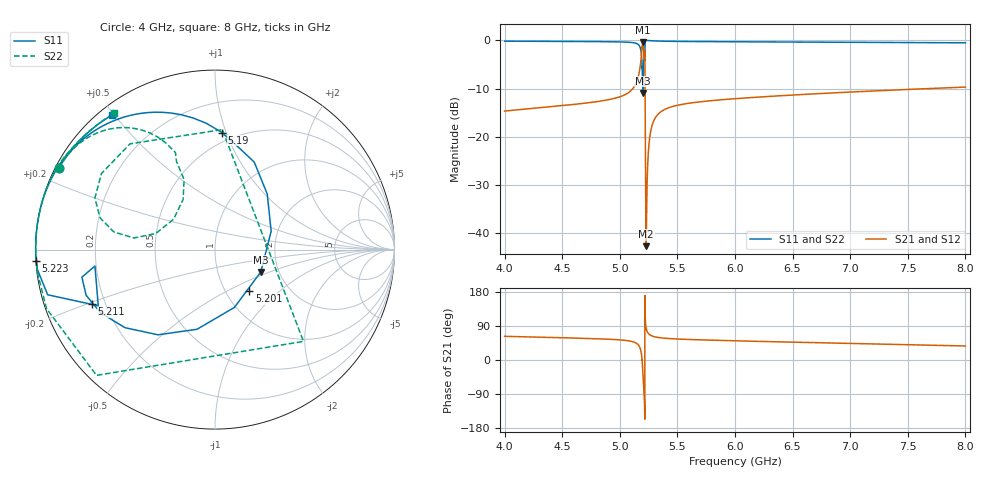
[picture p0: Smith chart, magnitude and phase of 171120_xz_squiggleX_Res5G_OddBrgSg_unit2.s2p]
! Sonnet Data File
! From: emgraph Version : 16.52
! From Emgraph Data: 171120_xz_squiggleX_Res5G_OddBrgSg_unit2
! Data File Written: 11/20/2017 13:13:11
!< HDATE 11/20/2017 11:17:42
!< MDATE 11/20/2017 11:18:06
!< PARAMS
!< Squiggle_length = 16.0
!< Inter_L = 35.0
!< Holo = 82.0
!< Inter = 19.0
!< Width = 359.0
!< END PARAMS
# GHZ S MA R 50.00000
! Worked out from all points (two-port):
!   4001 points, 4 GHz to 8 GHz, reference 50 ohm
!   highest |S21| = -0.38 dB at 5.2 GHz (marker M1); lowest = -42.7 dB at 5.228 GHz (marker M2)
!   |S21| within 3 dB of the highest: 5.186516 GHz to 5.210274 GHz (23.76 MHz wide, 0.457 % of centre); 5.21488 GHz to 5.218033 GHz (3.153 MHz wide, 0.0604 % of centre)
!   lowest |S11| = -10.9 dB at 5.2 GHz (marker M3), VSWR 1.79, Z = 80.6 - j21.8 ohm
!   |S11| at or under -10 dB: 5.198374 GHz to 5.201426 GHz (3.051 MHz wide, 0.0587 % of centre)
!   |S22| runs from -10.9 to 0.0 dB; largest |S21 - S12| = 0
!   S11 on the Smith chart (normalised r, x): 4 GHz: 0.01, +0.24; 5.19 GHz: 0.42, +0.97; 5.201 GHz: 1.29, -0.65; 5.211 GHz: 0.15, -0.21; 5.223 GHz: 0.00, -0.03; 8 GHz: 0.04, +0.49
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4  0.9828 152.5  0.1847 62.5  0.1847 62.5  0.9828 152.5
!< P1 F=4.0 Eeff=(7.89482441 -3.6407e-5) Z0=(50.4658937 1.16281e-4) R=0.0 C=0.0
!< P2 F=4.0 Eeff=(7.89482441 -3.6407e-5) Z0=(50.4658937 1.16281e-4) R=0.0 C=0.0
4.667  0.9753 147.3  0.2208 57.4  0.2208 57.4  0.9753 147.4
5.106  0.9512 137.8  0.3086 48.9  0.3086 48.9  0.9512 140.0
5.15  0.9242 130.7  0.3817 43.0  0.3817 43.0  0.9242 135.3
5.172  0.8717 119.9  0.4896 34.4  0.4896 34.4  0.8718 129.0
5.183  0.7884 106.1  0.6146 24.0  0.6146 24.0  0.7885 122.0
5.19  0.6535 86.6  0.756 10.6  0.756 10.6  0.6539 114.7
5.197  0.3749 34.2  0.9256 -14.6  0.9256 -14.6  0.3764 116.8
5.2  0.2839 -26.0  0.9572 -31.1  0.9572 -31.1  0.2862 143.7
5.201  0.2998 -50.2  0.9523 -37.1  0.9523 -37.1  0.302 155.8
5.211  0.7489 -156.0  0.6611 -92.0  0.6611 -92.0  0.7488 151.9
5.223  0.9982 -176.4  0.05075 98.2  0.05075 98.2  0.9975 -167.8
5.228  0.9997 175.0  0.007288 85.0  0.007288 85.0  0.9996 175.0
5.238  0.9992 166.4  0.0363 74.9  0.0363 74.9  0.9992 163.5
5.243  0.9985 163.7  0.05383 72.2  0.05383 72.2  0.9985 160.7
5.257  0.9957 158.9  0.09232 67.4  0.09232 67.4  0.9957 155.9
5.271  0.993 156.0  0.1183 64.6  0.1183 64.6  0.993 153.3
5.334  0.9851 150.2  0.1723 59.4  0.1723 59.4  0.985 148.5
6  0.9687 141.0  0.2482 50.7  0.2482 50.7  0.9687 140.3
6.667  0.9606 136.3  0.2778 45.9  0.2778 45.9  0.9607 135.6
7.334  0.9528 131.8  0.3036 41.4  0.3036 41.4  0.9529 131.0
8  0.9448 127.5  0.3277 37.0  0.3277 37.0  0.9448 126.5
